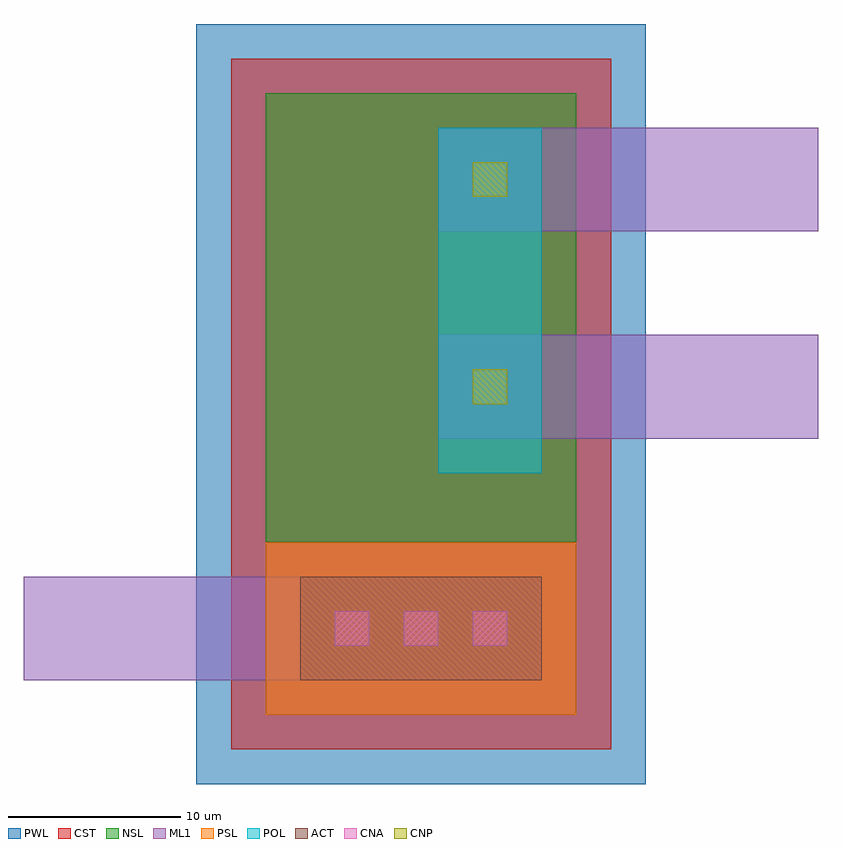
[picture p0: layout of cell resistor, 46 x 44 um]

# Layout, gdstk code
import gdstk
lib = gdstk.Library(unit=1e-6, precision=1e-09)
def R(c, l, rs):  # rectangles x0, y0, x1, y1
    for r in rs: c.add(gdstk.rectangle(r[:2], r[2:], *l))
def A(c, l, x, y, w, h, nx, ny, dx, dy):  # array of equal rectangles
    R(c, l, [(x+i*dx, y+j*dy, x+i*dx+w, y+j*dy+h) for i in range(nx) for j in range(ny)])
PWL = (2, 0)
CST = (3, 0)
ACT = (4, 0)
POL = (7, 0)
NSL = (8, 0)
PSL = (9, 0)
CNA = (10, 0)
CNP = (11, 0)
ML1 = (12, 0)

resistor = lib.new_cell('resistor')
R(resistor, PWL, [(0,0,26,44)])
R(resistor, CST, [(2,2,24,42)])
R(resistor, ACT, [(6,6,20,12)])
R(resistor, POL, [(14,18,20,38)])
R(resistor, NSL, [(4,14,22,40)])
R(resistor, PSL, [(4,4,22,14)])
A(resistor, CNA, 8, 8, 2, 2, 3, 1, 4, 0)
R(resistor, CNP, [(16,22,18,24), (16,34,18,36)])
R(resistor, ML1, [(-10,6,20,12), (14,20,36,26), (14,32,36,38)])
resistor.add(gdstk.Label('Gnd', (-14,9), layer=12, texttype=0))
resistor.add(gdstk.Label('Out', (38,23), layer=12, texttype=0))
resistor.add(gdstk.Label('In', (38,35), layer=12, texttype=0))

lib.write_gds('resistor.gds')
